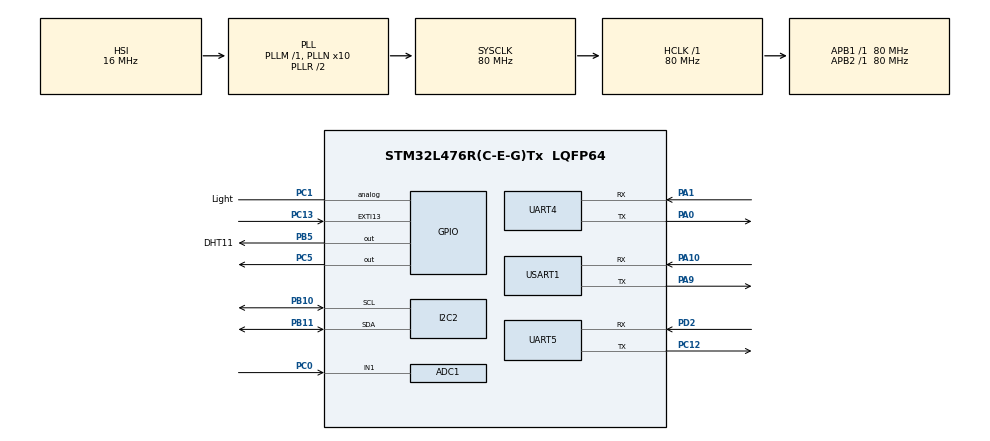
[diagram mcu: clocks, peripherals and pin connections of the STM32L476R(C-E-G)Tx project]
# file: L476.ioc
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ADC1.Channel-2\#ChannelRegularConversion=ADC_CHANNEL_1
ADC1.ClockPrescaler=ADC_CLOCK_ASYNC_DIV8
ADC1.NbrOfConversionFlag=1
ADC1.OffsetNumber-2\#ChannelRegularConversion=ADC_OFFSET_NONE
ADC1.Rank-2\#ChannelRegularConversion=1
ADC1.SamplingTime-2\#ChannelRegularConversion=ADC_SAMPLETIME_12CYCLES_5
ADC1.master=1
I2C2.Timing=0x10909CEC
Mcu.Family=STM32L4
Mcu.Name=STM32L476R(C-E-G)Tx
Mcu.Package=LQFP64
NVIC.EXTI15_10_IRQn=true\:0\:0\:false\:false\:true\:false\:true\:true
NVIC.PriorityGroup=NVIC_PRIORITYGROUP_4
NVIC.TIM1_UP_TIM16_IRQn=true\:0\:0\:false\:false\:true\:false\:false\:true
NVIC.TimeBase=TIM1_UP_TIM16_IRQn
NVIC.TimeBaseIP=TIM1
PA0.Mode=Asynchronous
PA0.Signal=UART4_TX
PA1.Mode=Asynchronous
PA1.Signal=UART4_RX
PA10.Mode=Asynchronous
PA10.Signal=USART1_RX
PA13\ (JTMS-SWDIO).GPIO_Label=TMS
PA13\ (JTMS-SWDIO).Mode=Serial_Wire
PA13\ (JTMS-SWDIO).Signal=SYS_JTMS-SWDIO
PA14\ (JTCK-SWCLK).GPIO_Label=TCK
PA14\ (JTCK-SWCLK).Mode=Serial_Wire
PA14\ (JTCK-SWCLK).Signal=SYS_JTCK-SWCLK
PA2.GPIO_Label=USART_TX
PA2.GPIO_Mode=GPIO_MODE_AF_PP
PA2.GPIO_PuPd=GPIO_NOPULL
PA2.GPIO_Speed=GPIO_SPEED_FREQ_VERY_HIGH
PA2.Signal=USART2_TX
PA3.GPIO_Label=USART_RX
PA3.GPIO_Mode=GPIO_MODE_AF_PP
PA3.GPIO_PuPd=GPIO_NOPULL
PA3.GPIO_Speed=GPIO_SPEED_FREQ_VERY_HIGH
PA3.Signal=USART2_RX
PA9.Mode=Asynchronous
PA9.Signal=USART1_TX
PB10.Mode=I2C
PB10.Signal=I2C2_SCL
PB11.Mode=I2C
PB11.Signal=I2C2_SDA
PB3\ (JTDO-TRACESWO).GPIO_Label=SWO
PB3\ (JTDO-TRACESWO).Signal=SYS_JTDO-SWO
PB5.GPIO_Label=DHT11
PB5.GPIO_PuPd=GPIO_PULLUP
PB5.GPIO_Speed=GPIO_SPEED_FREQ_MEDIUM
PB5.Signal=GPIO_Output
PC0.Signal=ADCx_IN1
PC1.GPIO_Label=Light
PC1.Signal=GPIO_Analog
PC12.Mode=Asynchronous
PC12.Signal=UART5_TX
PC13.GPIO_ModeDefaultEXTI=GPIO_MODE_IT_FALLING
PC13.Signal=GPXTI13
PC14-OSC32_IN\ (PC14).Signal=RCC_OSC32_IN
PC15-OSC32_OUT\ (PC15).Signal=RCC_OSC32_OUT
PC5.Signal=GPIO_Output
PD2.Mode=Asynchronous
PD2.Signal=UART5_RX
PH0-OSC_IN\ (PH0).Mode=HSE-External-Oscillator
PH0-OSC_IN\ (PH0).Signal=RCC_OSC_IN
PH1-OSC_OUT\ (PH1).Mode=HSE-External-Oscillator
PH1-OSC_OUT\ (PH1).Signal=RCC_OSC_OUT
ProjectManager.HeapSize=0x200
ProjectManager.StackSize=0x400
ProjectManager.TargetToolchain=MDK-ARM V5.27
RCC.ADCFreq_Value=64000000
RCC.AHBFreq_Value=80000000
RCC.APB1Freq_Value=80000000
RCC.APB1TimFreq_Value=80000000
RCC.APB2Freq_Value=80000000
RCC.APB2TimFreq_Value=80000000
RCC.CortexFreq_Value=80000000
RCC.HCLKFreq_Value=80000000
RCC.HSE_VALUE=8000000
RCC.HSI_VALUE=16000000
RCC.LSE_VALUE=32768
RCC.MSI_VALUE=4000000
RCC.PLLN=10
RCC.PLLSourceVirtual=RCC_PLLSOURCE_HSI
RCC.PREFETCH_ENABLE=1
RCC.SYSCLKFreq_VALUE=80000000
RCC.SYSCLKSource=RCC_SYSCLKSOURCE_PLLCLK
RCC.USBFreq_Value=64000000
RCC.VCOOutputFreq_Value=160000000
RealThread.RT-Thread.3.1.3.RTAaThreadCcRTOSJjkernel=true
RealThread.RT-Thread.3.1.3.RTAaThreadCcRTOSJjshell=true
RealThread.RT-Thread.3.1.3.RT_DEBUG=1
SH.ADCx_IN1.0=ADC1_IN1,IN1-Single-Ended
TIM2.CounterMode=TIM_COUNTERMODE_UP
TIM2.Prescaler=79
USART1.VirtualMode-Asynchronous=VM_ASYNC
VP_RealThread.RT-Thread_VS_RTOSJjRTAaThread_3.1.3.Mode=RTOSJjRTAaThread
VP_SYS_VS_tim1.Mode=TIM1
VP_TIM2_VS_ClockSourceINT.Mode=Internal
board=NUCLEO-L476RG

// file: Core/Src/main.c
/* USER CODE BEGIN Header */
/**
  ******************************************************************************
  * @file           : main.c
  * @brief          : Main program body
  ******************************************************************************
  * @attention
  *
  * <h2><center>&copy; Copyright (c) 2021 STMicroelectronics.
  * All rights reserved.</center></h2>
  *
  * This software component is licensed by ST under Ultimate Liberty license
  * SLA0044, the "License"; You may not use this file except in compliance with
  * the License. You may obtain a copy of the License at:
  *                             www.st.com/SLA0044
  *
  ******************************************************************************
  */
/* USER CODE END Header */
#include "main.h"
#include "adc.h"
#include "i2c.h"
#include "tim.h"
#include "usart.h"
#include "gpio.h"

/* USER CODE BEGIN Includes */
#include <rtthread.h>
#include "sgp30.h"
#include <string.h>

/* USER CODE END Includes */

/* USER CODE BEGIN PTD */
static struct rt_thread led_thread;
static char led_thread_stack[512];

static struct rt_thread sensor_thread;
static char sensor_thread_stack[1024];

static struct rt_thread L610_thread;
static char L610_thread_stack[1024];

static struct rt_thread watchdog_thread;
static char watchdog_thread_stack[512];

static struct rt_thread SGP30_thread;
static char SGP30_thread_stack[512];

/* USER CODE END PTD */

/* USER CODE BEGIN PD */
uint32_t Lux = 1000;
uint32_t cloudmessage = 0;
rt_uint8_t humidity = 50,temperature = 25;
rt_uint16_t ADC_Value = 1000;
double voltage;

/* USER CODE END PD */

/* USER CODE BEGIN PM */
extern UART_HandleTypeDef huart1;  // 广和通
extern UART_HandleTypeDef huart4;  // 电脑串口
extern UART_HandleTypeDef huart5;  // 串口屏

/* USER CODE END PM */

void SystemClock_Config(void);
/* USER CODE BEGIN PFP */
void delay_us(uint16_t us)   // 基于定时器的us延时函数
{
    uint16_t differ=0xffff-us-5;
    /*为防止因中断打断延时，造成计数错误.
     如从0xfffE开始延时1us,但由于中断打断
    （此时计数器仍在计数），本因计数至0xffff）
    便停止计数，但由于错过计数值，并重载arr值，
    导致实际延时(0xffff+1)us
    */
    HAL_TIM_Base_Start(&htim2);

    __HAL_TIM_SetCounter(&htim2,differ);

    while(differ<0xffff-5)
    {
        differ=__HAL_TIM_GetCounter(&htim2);
    }
    HAL_TIM_Base_Stop(&htim2);
}

void UART5_output(const char *str)   // 串口屏的串口输出
{
	rt_size_t i = 0, size = 0;
  uint8_t a = 0xff;
  __HAL_UNLOCK(&huart5);
  size = rt_strlen(str);
  for (i = 0; i < size; i++)
  {
		HAL_UART_Transmit(&huart5, (uint8_t*)(str + i), 1, 1);
  }
	HAL_UART_Transmit(&huart5, (uint8_t*)&a, 1, 1);
	HAL_UART_Transmit(&huart5, (uint8_t*)&a, 1, 1);
	HAL_UART_Transmit(&huart5, (uint8_t*)&a, 1, 1);
}

void USART1_output(const char *str)  // 广和通串口
{
	rt_size_t i = 0, size = 0;
  __HAL_UNLOCK(&huart1);
  size = rt_strlen(str);
  for (i = 0; i < size; i++)
  {
		HAL_UART_Transmit(&huart1, (uint8_t*)(str + i), 1, 1);
  }
}

void HAL_GPIO_EXTI_Callback(uint16_t GPIO_Pin) // 按键中断程序
{
	HAL_GPIO_WritePin(GPIOC, GPIO_PIN_5, GPIO_PIN_RESET);
	for(int i=0;i<10;i++)
	{
		delay_us(50*1000);
		delay_us(50*1000);
	}
	HAL_GPIO_WritePin(GPIOC, GPIO_PIN_5, GPIO_PIN_SET);
}

rt_uint8_t DHT11_Reset()    // 初始化DHT11 并进行数据发送前的握手
{
	GPIO_InitTypeDef GPIO_InitStruct = {0};
	GPIO_InitStruct.Pin = DHT11_Pin;
  GPIO_InitStruct.Mode = GPIO_MODE_OUTPUT_PP;       // 推挽输出模式 无上拉
  GPIO_InitStruct.Pull = GPIO_NOPULL;
  GPIO_InitStruct.Speed = GPIO_SPEED_FREQ_MEDIUM;
  HAL_GPIO_Init(DHT11_GPIO_Port, &GPIO_InitStruct);

	HAL_GPIO_WritePin(DHT11_GPIO_Port, DHT11_Pin, GPIO_PIN_RESET);
	delay_us(30*1000);                                              // 总线拉低30ms 让DHT11检测到
	HAL_GPIO_WritePin(DHT11_GPIO_Port, DHT11_Pin, GPIO_PIN_SET);
	delay_us(30);

	GPIO_InitStruct.Pin = DHT11_Pin;
  GPIO_InitStruct.Mode = GPIO_MODE_INPUT;       // 进入输入模式 接受DHT11的信号
	GPIO_InitStruct.Pull = GPIO_PULLUP;
	HAL_GPIO_Init(DHT11_GPIO_Port, &GPIO_InitStruct);

	rt_uint8_t cnt=0;
	while(HAL_GPIO_ReadPin(DHT11_GPIO_Port,DHT11_Pin)&&cnt<100) // 等待DHT11的低电平
	{
		cnt++;
		delay_us(1);
	}
	if (cnt>=100)
			return 1; // DHT11无响应

	cnt=0;
	while(!HAL_GPIO_ReadPin(DHT11_GPIO_Port,DHT11_Pin)&&cnt<100) // 等待DHT11的高电平
	{
		cnt++;
		delay_us(1);
	}
	if (cnt>=100)
		return 1; // DHT11无响应

	return 0; // DHT11初始化成功 准备读取数据
}

rt_int8_t DHT11_READ_BIT()  // 读取一个Bit
{
	while(HAL_GPIO_ReadPin(DHT11_GPIO_Port,DHT11_Pin))
		;  // 滤过一开始的低电平
	while(!HAL_GPIO_ReadPin(DHT11_GPIO_Port,DHT11_Pin))
		;  // 滤过高电平

	delay_us(35);            // 高电平持续27-28us表示0 持续70us表示1 则可通过延时35us后判断电平高低来判断
	if(HAL_GPIO_ReadPin(DHT11_GPIO_Port,DHT11_Pin))
		return 1;
	else
		return 0;
}

rt_uint8_t DHT11_READ_BYTE() // 读取一个Byte
{
	rt_uint8_t mask,data;
	data=0;
	for(mask=0x80;mask!=0;mask>>=1)
	{
		if(DHT11_READ_BIT())
			data |=mask;
		else
			data &=~mask;
	}
	return data;
}

rt_uint8_t DHT11_GET_DATA(rt_uint8_t *humidity, rt_uint8_t *temperature) // 整理并验证数据
{
	rt_uint8_t i;
	rt_uint8_t buf[5];
	if(DHT11_Reset() == 0)
	{
		for (i=0; i<5; i++)
		{
			buf[i]=DHT11_READ_BYTE();
		}
		if( (buf[0]+buf[1]+buf[2]+buf[3]) == buf[4])
		{
			*humidity = buf[0];
			*temperature = buf[2];
			rt_kprintf("DTH11_DATA read successfully!\n");
//			rt_kprintf("temperature:%u humidity:%u \n",buf[2], buf[0]);
			return 0;
		}
		else
		{
			rt_kprintf("check failed!\n");
			rt_kprintf("temperature:%u humidity:%u \n",buf[2], buf[0]);
			return 1;
		}
	}
	else
	{
		rt_kprintf("DHT11 failed to init!\n");
		return 1;
	}
}
/* USER CODE END PFP */

/* USER CODE BEGIN 0 */

static void sensor_thread_entry(void* parameter)  // 传感器线程 温度、湿度、光照
{
	rt_kprintf("Sensor detection start\n");
	while(1)
{
	char temperature_string[20] = {0};      //  构建串口屏的字符串命令
	char humidity_string[20] = {0};
	char light_string[20] = {0};
	DHT11_GET_DATA(&humidity, &temperature); // 读取温湿度
  rt_kprintf("---Temperature:%u 'C Humidity:%u%---\n", temperature, humidity/2);
	HAL_ADC_Start(&hadc1);     //启动光敏电阻ADC转换
	HAL_ADC_PollForConversion(&hadc1, 100);   //等待转换完成，100为最大等待时间，单位为ms

 if(HAL_IS_BIT_SET(HAL_ADC_GetState(&hadc1), HAL_ADC_STATE_REG_EOC))
 {
  ADC_Value = HAL_ADC_GetValue(&hadc1);      //获取AD值
  rt_kprintf("ADC1 Reading:%u\n", ADC_Value);
	voltage = ADC_Value*3.3/4096;   // 算出电压值
	Lux = (3300-(unsigned int)(voltage*1000))/2;  // 获得近似光强
  rt_kprintf("---Light sensor:%u Lux---\n", Lux);
 }

	sprintf(temperature_string,"t0.txt=\"%u'C\"", temperature);   //  构建串口屏的字符串命令
	sprintf(humidity_string,"t1.txt=\"%u%%\"", humidity/2);
	sprintf(light_string,"t2.txt=\"%ulx\"", Lux);
 	UART5_output(temperature_string);   // 串口屏输出
	UART5_output(humidity_string);
	UART5_output(light_string);

	rt_thread_mdelay(3000);  // 检测间隔3000ms
	}
}
MSH_CMD_EXPORT(sensor_thread_entry, Sensors start to detect);

static void L610_thread_entry(void* parameter)  // 广和通线程
{
	char connect[] = "AT+CLOUDAUTH=\"a1iKWF07Pbb\",\"ADP_L610\",\"7727d7aad67ccb07a259e5b27ba4b6e1\",\"iot-as-mqtt.cn-shanghai.aliyuncs.com\"\r\n";
	char keep_alive[] = "AT+CLOUDCONN=80,0,4\r\n";
	char success[] = "AT+CLOUDPUB=\"/a1iKWF07Pbb/ADP_L610/user/get\",1,\"MCU connection sucess\"\r\n";
	char Data_string[100] = {0};      //  构建L610的aT命令字符串

	rt_thread_mdelay(4000);  // 等待L610启动
	USART1_output(connect);  // 连接阿里云
	rt_thread_mdelay(1000);
	USART1_output(keep_alive); // 保活
	rt_thread_mdelay(1000);
	USART1_output(success);
	rt_kprintf("AT+CLOUDPUB=\"/a1iKWF07Pbb/ADP_L610/user/get\",1,\"MCU connection sucess\"\n");
	rt_thread_mdelay(1000);
	while(1)
	{
		sprintf(Data_string,"AT+CLOUDPUB=\"/a1iKWF07Pbb/ADP_L610/user/get\",1,\"Temperature:%u Humidity:%u Lux:%u CO2:%u\"\r\n", temperature, humidity, Lux, sgp30_data.co2);
		USART1_output(Data_string);  // 定期上传数据
		rt_kprintf("Send message to Ali_Cloud");
		rt_thread_mdelay(30000);
	}
}

static void watchdog_thread_entry(void* parameter) // 看门狗线程
{
	while(1)
	{
		if (__HAL_UART_GET_FLAG(&huart1, UART_FLAG_RXNE) != RESET)  // 检测广和通下发的数据
    {
       cloudmessage = huart1.Instance->RDR & 0xff;
			 HAL_GPIO_WritePin(GPIOC, GPIO_PIN_5, GPIO_PIN_RESET);
			 rt_thread_mdelay(2000);
			 HAL_GPIO_WritePin(GPIOC, GPIO_PIN_5, GPIO_PIN_SET);
    }
		else
				__HAL_UART_CLEAR_OREFLAG(&huart1);

		if(Lux<1000)  // 检测光强是否过低
		{
			for(int i=0;i<10;i++)
			{
				HAL_GPIO_WritePin(GPIOA, GPIO_PIN_5, GPIO_PIN_RESET);
				rt_thread_mdelay(100);
				HAL_GPIO_WritePin(GPIOA, GPIO_PIN_5, GPIO_PIN_SET);
				rt_thread_mdelay(100);
			}
		}
		rt_thread_mdelay(500);
	}
}

static void led_thread_entry(void* parameter)   // LED闪烁线程
{
	GPIO_InitTypeDef GPIO_InitStruct = {0};
	GPIO_InitStruct.Pin = GPIO_PIN_5;
  GPIO_InitStruct.Mode = GPIO_MODE_OUTPUT_PP;       // 初始化LED灯GPIO
  GPIO_InitStruct.Pull = GPIO_NOPULL;
  GPIO_InitStruct.Speed = GPIO_SPEED_FREQ_MEDIUM;
  HAL_GPIO_Init(GPIOA, &GPIO_InitStruct);

	rt_kprintf("LED blink start\n");
	while(1)
	{
		HAL_GPIO_WritePin(GPIOA, GPIO_PIN_5, GPIO_PIN_RESET);
		rt_thread_mdelay(1000);
		HAL_GPIO_WritePin(GPIOA, GPIO_PIN_5, GPIO_PIN_SET);
		rt_thread_mdelay(1000);
	}
}

static void SGP30_thread_entry(void* parameter)   // SGP30线程
{
	MX_I2C2_Init();
	rt_kprintf("SGP30 start!\n");
	if (-1 == sgp30_init())
			{
					printf("sgp30 init fail\r\n");
					rt_kprintf("SGP30 init failed!\n");
					UART5_output("SGP30 init failed!");
			}
	rt_kprintf("SGP30 init success(it takes about 15s to get the data since start)\n");
	char CO2_string[20] = {0};
	 while(1) // SGP30读取数据
	{
		if( -1 == sgp30_read())
		{
			rt_kprintf("sgp30 read fail\n");
			break;
		}
		else
		{
			if(sgp30_data.co2 == 400 )
		  {
				rt_kprintf("SGP30 is reading data...\n");
			}
			else
			{
				rt_kprintf("---SGP30 read success, CO2:%4d ppm, TVOC:%4d ppd---\n", sgp30_data.co2, sgp30_data.tvoc);
				sprintf(CO2_string,"t3.txt=\"CO2:%uppm\"", sgp30_data.co2);
				UART5_output(CO2_string);
				break;
			}
		}
		rt_thread_mdelay(3000);
	}
}

/* USER CODE END 0 */

int main(void)
{

  /* MCU Configuration--------------------------------------------------------*/

  /* Reset of all peripherals, Initializes the Flash interface and the Systick. */
  HAL_Init();

  /* Configure the system clock */
  SystemClock_Config();

  /* Initialize all configured peripherals */
  MX_GPIO_Init();
  MX_I2C2_Init();
  MX_USART1_UART_Init();
  MX_UART4_Init();
  MX_TIM2_Init();
  MX_ADC1_Init();
  MX_UART5_Init();
  /* USER CODE BEGIN 2 */
	HAL_GPIO_WritePin(DHT11_GPIO_Port, DHT11_Pin, GPIO_PIN_SET);  // DHT11电平初始化
	HAL_GPIO_WritePin(GPIOC, GPIO_PIN_5, GPIO_PIN_SET);  // 风扇电平初始化
	HAL_ADCEx_Calibration_Start(&hadc1, 100); // ADC初始化
	UART5_output("t0.txt=\"26'C\"");  // 串口屏显示初始化
	UART5_output("t1.txt=\"50%\"");
	UART5_output("t2.txt=\"1000lx\"");
	UART5_output("t3.txt=\"CO2:400ppm\"");
	rt_thread_mdelay(1000);

	rt_err_t rst;  // 起线程的句柄
	rst = rt_thread_init(&led_thread,
						"ledshine",
						led_thread_entry,
						RT_NULL,
						&led_thread_stack[0],
						sizeof(led_thread_stack),
						RT_THREAD_PRIORITY_MAX-2,
						20);
	if(rst == RT_EOK)
	{
		rt_thread_startup(&led_thread);  // 启动led线程
	}

	rst = rt_thread_init(&sensor_thread,
						"sensors detect",
						sensor_thread_entry,
						RT_NULL,
						&sensor_thread_stack[0],
						sizeof(sensor_thread_stack),
						RT_THREAD_PRIORITY_MAX-2,
						20);
	if(rst == RT_EOK)
	{
		rt_thread_startup(&sensor_thread); // 启动传感器线程
	}

	rst = rt_thread_init(&SGP30_thread,
						"SGP30 thread",
						SGP30_thread_entry,
						RT_NULL,
						&SGP30_thread_stack[0],
						sizeof(SGP30_thread_stack),
						RT_THREAD_PRIORITY_MAX-2,
						10);
	if(rst == RT_EOK)
	{
		rt_thread_startup(&SGP30_thread); // 启动SGP30线程
	}

	rst = rt_thread_init(&L610_thread,
						"L610 thread",
						L610_thread_entry,
						RT_NULL,
						&L610_thread_stack[0],
						sizeof(L610_thread_stack),
						RT_THREAD_PRIORITY_MAX-2,
						5);
	if(rst == RT_EOK)
	{
		rt_thread_startup(&L610_thread); // 启动广和通
	}

	rst = rt_thread_init(&watchdog_thread,
						"watchdog thread",
						watchdog_thread_entry,
						RT_NULL,
						&watchdog_thread_stack[0],
						sizeof(watchdog_thread_stack),
						RT_THREAD_PRIORITY_MAX-2,
						5);
	if(rst == RT_EOK)
	{
		rt_thread_startup(&watchdog_thread);   // 启动看门狗
	}

	rt_kprintf("RT-Thread start successfully!\n");
	return 0;

  /* USER CODE END 2 */

  /* Infinite loop */

}

void SystemClock_Config(void)
{
  RCC_OscInitTypeDef RCC_OscInitStruct = {0};
  RCC_ClkInitTypeDef RCC_ClkInitStruct = {0};
  RCC_PeriphCLKInitTypeDef PeriphClkInit = {0};

  /** Initializes the RCC Oscillators according to the specified parameters
  * in the RCC_OscInitTypeDef structure.
  */
  RCC_OscInitStruct.OscillatorType = RCC_OSCILLATORTYPE_HSI;
  RCC_OscInitStruct.HSIState = RCC_HSI_ON;
  RCC_OscInitStruct.HSICalibrationValue = RCC_HSICALIBRATION_DEFAULT;
  RCC_OscInitStruct.PLL.PLLState = RCC_PLL_ON;
  RCC_OscInitStruct.PLL.PLLSource = RCC_PLLSOURCE_HSI;
  RCC_OscInitStruct.PLL.PLLM = 1;
  RCC_OscInitStruct.PLL.PLLN = 10;
  RCC_OscInitStruct.PLL.PLLP = RCC_PLLP_DIV7;
  RCC_OscInitStruct.PLL.PLLQ = RCC_PLLQ_DIV2;
  RCC_OscInitStruct.PLL.PLLR = RCC_PLLR_DIV2;
  if (HAL_RCC_OscConfig(&RCC_OscInitStruct) != HAL_OK)
  {
    Error_Handler();
  }
  /** Initializes the CPU, AHB and APB buses clocks
  */
  RCC_ClkInitStruct.ClockType = RCC_CLOCKTYPE_HCLK|RCC_CLOCKTYPE_SYSCLK
                              |RCC_CLOCKTYPE_PCLK1|RCC_CLOCKTYPE_PCLK2;
  RCC_ClkInitStruct.SYSCLKSource = RCC_SYSCLKSOURCE_PLLCLK;
  RCC_ClkInitStruct.AHBCLKDivider = RCC_SYSCLK_DIV1;
  RCC_ClkInitStruct.APB1CLKDivider = RCC_HCLK_DIV1;
  RCC_ClkInitStruct.APB2CLKDivider = RCC_HCLK_DIV1;

  if (HAL_RCC_ClockConfig(&RCC_ClkInitStruct, FLASH_LATENCY_4) != HAL_OK)
  {
    Error_Handler();
  }
  PeriphClkInit.PeriphClockSelection = RCC_PERIPHCLK_USART1|RCC_PERIPHCLK_UART4
                              |RCC_PERIPHCLK_UART5|RCC_PERIPHCLK_I2C2
                              |RCC_PERIPHCLK_ADC;
  PeriphClkInit.Usart1ClockSelection = RCC_USART1CLKSOURCE_PCLK2;
  PeriphClkInit.Uart4ClockSelection = RCC_UART4CLKSOURCE_PCLK1;
  PeriphClkInit.Uart5ClockSelection = RCC_UART5CLKSOURCE_PCLK1;
  PeriphClkInit.I2c2ClockSelection = RCC_I2C2CLKSOURCE_PCLK1;
  PeriphClkInit.AdcClockSelection = RCC_ADCCLKSOURCE_PLLSAI1;
  PeriphClkInit.PLLSAI1.PLLSAI1Source = RCC_PLLSOURCE_HSI;
  PeriphClkInit.PLLSAI1.PLLSAI1M = 1;
  PeriphClkInit.PLLSAI1.PLLSAI1N = 8;
  PeriphClkInit.PLLSAI1.PLLSAI1P = RCC_PLLP_DIV7;
  PeriphClkInit.PLLSAI1.PLLSAI1Q = RCC_PLLQ_DIV2;
  PeriphClkInit.PLLSAI1.PLLSAI1R = RCC_PLLR_DIV2;
  PeriphClkInit.PLLSAI1.PLLSAI1ClockOut = RCC_PLLSAI1_ADC1CLK;
  if (HAL_RCCEx_PeriphCLKConfig(&PeriphClkInit) != HAL_OK)
  {
    Error_Handler();
  }
  /** Configure the main internal regulator output voltage
  */
  if (HAL_PWREx_ControlVoltageScaling(PWR_REGULATOR_VOLTAGE_SCALE1) != HAL_OK)
  {
    Error_Handler();
  }
}

 /**
  * @brief  Period elapsed callback in non blocking mode
  * @note   This function is called  when TIM1 interrupt took place, inside
  * HAL_TIM_IRQHandler(). It makes a direct call to HAL_IncTick() to increment
  * a global variable "uwTick" used as application time base.
  * @param  htim : TIM handle
  * @retval None
  */
void HAL_TIM_PeriodElapsedCallback(TIM_HandleTypeDef *htim)
{
  if (htim->Instance == TIM1) {
    HAL_IncTick();
  }
}

void Error_Handler(void)
{
  __disable_irq();
  while (1)
  {
  }
}

/************************ (C) COPYRIGHT STMicroelectronics *****END OF FILE****/
